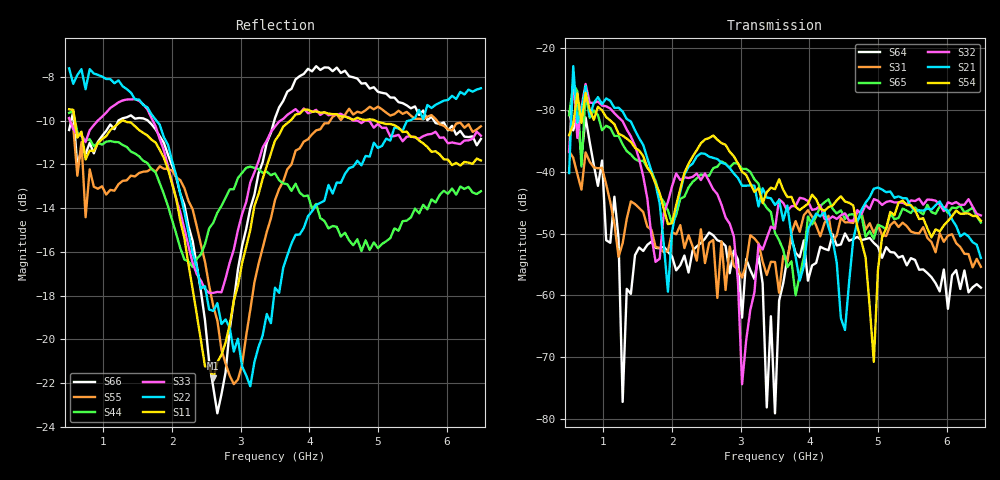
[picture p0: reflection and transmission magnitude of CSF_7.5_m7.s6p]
!Keysight Technologies,M9804A,MY58100912,A.14.10.03
!Date: Thursday, April 27, 2023 10:28:33
!Correction: S11(C  6-Port  )
!S12(C  6-Port  )
!S13(C  6-Port  )
!S14(C  6-Port  )
!S15(C  6-Port  )
!S16(C  6-Port  )
!S21(C  6-Port  )
!S22(C  6-Port  )
!S23(C  6-Port  )
!S24(C  6-Port  )
!S25(C  6-Port  )
!S26(C  6-Port  )
!S31(C  6-Port  )
!S32(C  6-Port  )
!S33(C  6-Port  )
!S34(C  6-Port  )
!S35(C  6-Port  )
!S36(C  6-Port  )
!S41(C  6-Port  )
!S42(C  6-Port  )
!S43(C  6-Port  )
!S44(C  6-Port  )
!S45(C  6-Port  )
!S46(C  6-Port  )
!S51(C  6-Port  )
!S52(C  6-Port  )
!S53(C  6-Port  )
!S54(C  6-Port  )
!S55(C  6-Port  )
!S56(C  6-Port  )
!S61(C  6-Port  )
!S62(C  6-Port  )
!S63(C  6-Port  )
!S64(C  6-Port  )
!S65(C  6-Port  )
!S66(C  6-Port  )
!S6P File: Measurement: :
# Hz S  RI  R 50
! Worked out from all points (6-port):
!   101 points, 500 MHz to 6.5 GHz, reference 50 ohm
!   strongest paths, dB at 500 MHz, 2 GHz, 3.5 GHz, 5 GHz, 6.5 GHz:
!     S54: -34.1, -48.3, -42.8, -55.8, -47.9
!     S21: -40.2, -49.7, -45.4, -42.5, -53.9
!     S32: -36.8, -42.3, -49.2, -44.7, -47.1
!     S65: -30.9, -48.3, -49.9, -48.6, -48.2
!     S31: -36.7, -49.8, -54.6, -48.6, -55.4
!     S64: -30.3, -53.7, -79.1, -52.1, -58.7
!   lowest |S11| = -21.8 dB at 2.6 GHz (marker M1), VSWR 1.18, Z = 42.7 + j1.97 ohm
!   |S11| at or under -10 dB: 583.4 MHz to 1.27 GHz (686.8 MHz wide, 74.1 % of centre); 1.297 GHz to 3.723 GHz (2.426 GHz wide, 96.7 % of centre); 4.96 GHz to end of sweep
